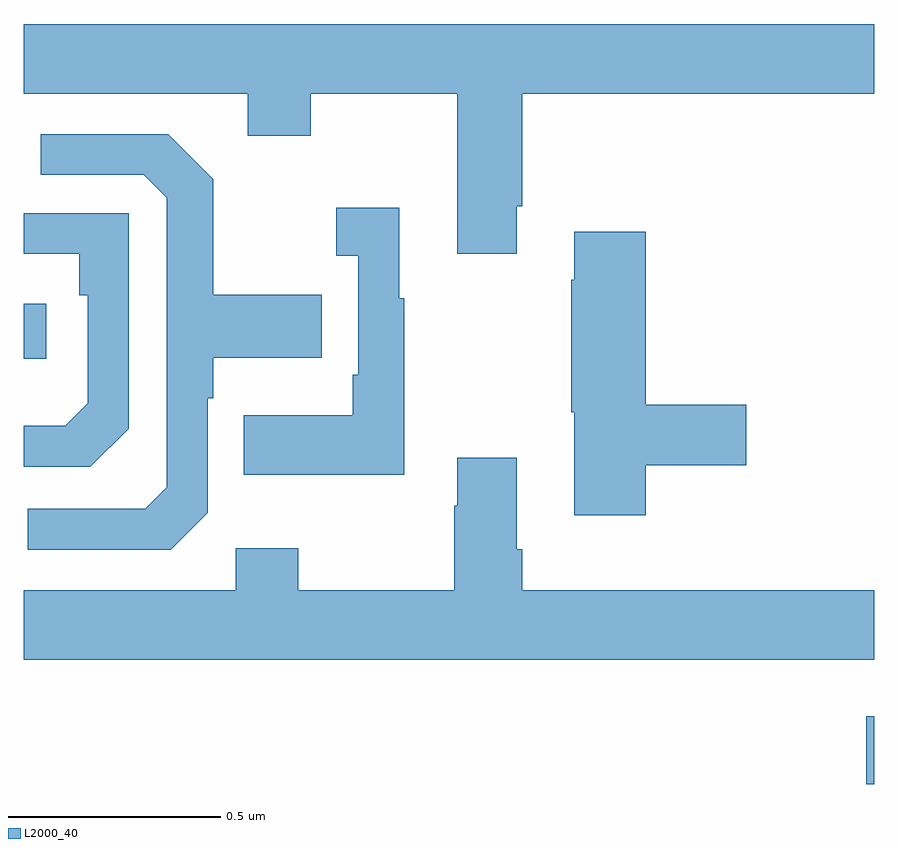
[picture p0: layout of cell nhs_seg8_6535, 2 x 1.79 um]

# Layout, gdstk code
import gdstk
lib = gdstk.Library(unit=1e-6, precision=1e-09)
def R(c, l, rs):  # rectangles x0, y0, x1, y1
    for r in rs: c.add(gdstk.rectangle(r[:2], r[2:], *l))
def P(c, l, *ps):  # polygons
    for p in ps: c.add(gdstk.Polygon(p, *l))
L2000_40 = (2000, 40)

nhs_seg8_6535 = lib.new_cell('nhs_seg8_6535')
R(nhs_seg8_6535, L2000_40, [(199.982,1090.9,200,1091.059), (198,1091.9,198.052,1092.03)])
P(nhs_seg8_6535, L2000_40, [(199.159,1092.259),(199.172,1092.259),(199.172,1092.524),(200,1092.524),(200,1092.688),(198,1092.688),(198,1092.524),(198.527,1092.524),(198.527,1092.425),(198.675,1092.425),(198.675,1092.524),(199.019,1092.524),(199.019,1092.147),(199.159,1092.147)],
  [(198.432,1091.538),(198.432,1091.807),(198.445,1091.807),(198.445,1091.903),(198.701,1091.903),(198.701,1092.051),(198.445,1092.051),(198.445,1092.323),(198.339,1092.429),(198.039,1092.429),(198.039,1092.333),(198.282,1092.333),(198.336,1092.279),(198.336,1091.598),(198.285,1091.547),(198.009,1091.547),(198.009,1091.451),(198.345,1091.451)],
  [(198.895,1092.043),(198.883,1092.043),(198.883,1092.256),(198.735,1092.256),(198.735,1092.143),(198.786,1092.143),(198.786,1091.863),(198.774,1091.863),(198.774,1091.767),(198.517,1091.767),(198.517,1091.627),(198.895,1091.627)],
  [(198.246,1091.736),(198.246,1092.243),(198,1092.243),(198,1092.147),(198.13,1092.147),(198.13,1092.05),(198.15,1092.05),(198.15,1091.796),(198.097,1091.743),(198,1091.743),(198,1091.646),(198.156,1091.646)],
  [(199.463,1091.65),(199.699,1091.65),(199.699,1091.792),(199.463,1091.792),(199.463,1092.199),(199.295,1092.199),(199.295,1092.086),(199.288,1092.086),(199.288,1091.775),(199.295,1091.775),(199.295,1091.532),(199.463,1091.532)],
  [(199.159,1091.452),(199.159,1091.668),(199.019,1091.668),(199.019,1091.555),(199.012,1091.555),(199.012,1091.356),(198.645,1091.356),(198.645,1091.455),(198.498,1091.455),(198.498,1091.356),(198,1091.356),(198,1091.192),(200,1091.192),(200,1091.356),(199.172,1091.356),(199.172,1091.452)])

lib.write_gds('nhs_seg8_6535.gds')
